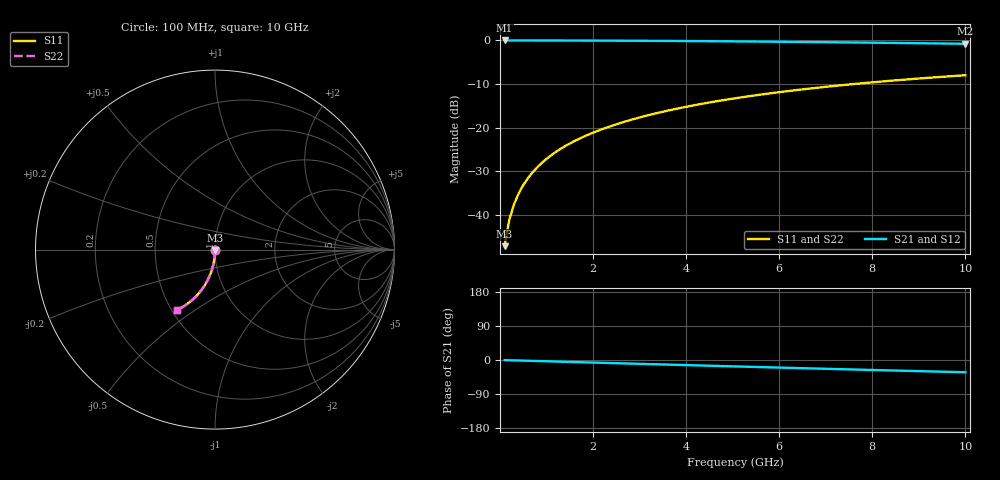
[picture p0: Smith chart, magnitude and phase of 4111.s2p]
# Hz S RI R 50.00
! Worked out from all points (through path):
!   100 points, 100 MHz to 10 GHz, reference 50 ohm
!   highest |S21| = 0.00 dB at 100 MHz (marker M1); lowest = -0.8 dB at 10 GHz (marker M2)
!   group delay of S21, straight-line fit = 9.03 ps
!   lowest |S11| = -47.1 dB at 100 MHz (marker M3), VSWR 1.01, Z = 50 - j0.441 ohm
!   |S11| at or under -10 dB: start of sweep to 7.585 GHz
!   |S22| runs from -47.1 to -8.0 dB; largest |S21 - S12| = 0
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1e8  0.000171 -0.00441  0.9998 -0.0059  0.9998 -0.0059  0.000171 -0.00441
2e8  8.94e-05 -0.00882  0.9997 -0.0118  0.9997 -0.0118  8.94e-05 -0.00882
3e8  -4.46e-05 -0.0132  0.9995 -0.0177  0.9995 -0.0177  -4.46e-05 -0.0132
4e8  -0.000231 -0.0176  0.9993 -0.0236  0.9993 -0.0236  -0.000231 -0.0176
5e8  -0.000469 -0.022  0.9991 -0.0295  0.9991 -0.0295  -0.000469 -0.022
6e8  -0.000759 -0.0264  0.9988 -0.0354  0.9988 -0.0354  -0.000759 -0.0264
7e8  -0.0011 -0.0308  0.9984 -0.0412  0.9984 -0.0412  -0.0011 -0.0308
8e8  -0.0015 -0.0352  0.998 -0.0471  0.998 -0.0471  -0.0015 -0.0352
9e8  -0.00194 -0.0396  0.9976 -0.053  0.9976 -0.053  -0.00194 -0.0396
1.1e9  -0.00299 -0.0484  0.9965 -0.0647  0.9965 -0.0647  -0.00299 -0.0484
1.4e9  -0.00494 -0.0614  0.9944 -0.0823  0.9944 -0.0823  -0.00494 -0.0614
1.8e9  -0.00826 -0.0787  0.9909 -0.1056  0.9909 -0.1056  -0.00826 -0.0787
2.1e9  -0.0113 -0.0916  0.9878 -0.1229  0.9878 -0.1229  -0.0113 -0.0916
2.5e9  -0.016 -0.1085  0.9829 -0.1458  0.9829 -0.1458  -0.016 -0.1085
2.9e9  -0.0215 -0.1251  0.9771 -0.1684  0.9771 -0.1684  -0.0215 -0.1251
3.4e9  -0.0294 -0.1455  0.9688 -0.1963  0.9688 -0.1963  -0.0294 -0.1455
4.2e9  -0.0444 -0.1768  0.9531 -0.2397  0.9531 -0.2397  -0.0444 -0.1768
5.1e9  -0.0645 -0.2098  0.9321 -0.2864  0.9321 -0.2864  -0.0645 -0.2098
5.9e9  -0.0848 -0.237  0.9108 -0.3257  0.9108 -0.3257  -0.0848 -0.237
6.7e9  -0.1072 -0.2619  0.8872 -0.3629  0.8872 -0.3629  -0.1072 -0.2619
8.4e9  -0.16 -0.3064  0.8313 -0.4338  0.8313 -0.4338  -0.16 -0.3064
1e10  -0.2141 -0.3375  0.7737 -0.4901  0.7737 -0.4901  -0.2141 -0.3375
